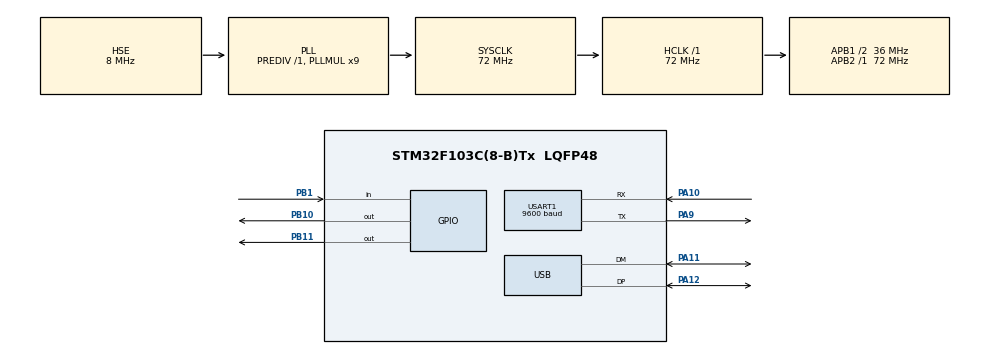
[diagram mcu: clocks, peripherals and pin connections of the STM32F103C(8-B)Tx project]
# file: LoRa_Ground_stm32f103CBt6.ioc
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Mcu.Family=STM32F1
Mcu.Name=STM32F103C(8-B)Tx
Mcu.Package=LQFP48
NVIC.PriorityGroup=NVIC_PRIORITYGROUP_4
NVIC.USART1_IRQn=true\:0\:0\:false\:false\:true\:true\:true
NVIC.USB_LP_CAN1_RX0_IRQn=true\:0\:0\:false\:false\:true\:false\:true
PA10.Mode=Asynchronous
PA10.Signal=USART1_RX
PA11.Mode=Device
PA11.Signal=USB_DM
PA12.Mode=Device
PA12.Signal=USB_DP
PA13.Mode=Serial_Wire
PA13.Signal=SYS_JTMS-SWDIO
PA14.Mode=Serial_Wire
PA14.Signal=SYS_JTCK-SWCLK
PA9.Mode=Asynchronous
PA9.Signal=USART1_TX
PB1.Signal=GPIO_Input
PB10.GPIO_PuPd=GPIO_PULLDOWN
PB10.Signal=GPIO_Output
PB11.GPIO_PuPd=GPIO_PULLDOWN
PB11.Signal=GPIO_Output
PD0-OSC_IN.Mode=HSE-External-Oscillator
PD0-OSC_IN.Signal=RCC_OSC_IN
PD1-OSC_OUT.Mode=HSE-External-Oscillator
PD1-OSC_OUT.Signal=RCC_OSC_OUT
ProjectManager.HeapSize=0x200
ProjectManager.StackSize=0x400
ProjectManager.TargetToolchain=STM32CubeIDE
RCC.AHBFreq_Value=72000000
RCC.APB1CLKDivider=RCC_HCLK_DIV2
RCC.APB1Freq_Value=36000000
RCC.APB1TimFreq_Value=72000000
RCC.APB2Freq_Value=72000000
RCC.APB2TimFreq_Value=72000000
RCC.HCLKFreq_Value=72000000
RCC.PLLMUL=RCC_PLL_MUL9
RCC.SYSCLKFreq_VALUE=72000000
RCC.SYSCLKSource=RCC_SYSCLKSOURCE_PLLCLK
RCC.USBFreq_Value=48000000
RCC.USBPrescaler=RCC_USBCLKSOURCE_PLL_DIV1_5
USART1.BaudRate=9600
USART1.VirtualMode=VM_ASYNC
USB_DEVICE.CLASS_NAME_FS=CDC
USB_DEVICE.VirtualMode=Cdc
USB_DEVICE.VirtualModeFS=Cdc_FS
VP_USB_DEVICE_VS_USB_DEVICE_CDC_FS.Mode=CDC_FS
board=custom

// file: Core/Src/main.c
/* USER CODE BEGIN Header */
/**
 ******************************************************************************
 * @file           : main.c
 * @brief          : Main program body
 ******************************************************************************
 * @attention
 *
 * Copyright (c) 2022 STMicroelectronics.
 * All rights reserved.
 *
 * This software is licensed under terms that can be found in the LICENSE file
 * in the root directory of this software component.
 * If no LICENSE file comes with this software, it is provided AS-IS.
 *
 ******************************************************************************
 */
/* USER CODE END Header */
#include "main.h"
#include "usb_device.h"

/* USER CODE BEGIN Includes */
#include "string.h"
/* USER CODE END Includes */

/* USER CODE BEGIN PTD */

struct {
	uint8_t command;
	uint16_t P;
	uint16_t I;
	uint16_t D;
} pid_transmit_struct;

struct {
	uint8_t command;
	int16_t offsetR;
	int16_t offsetP;
} offset_transmit_struct;

/* USER CODE END PTD */

UART_HandleTypeDef huart1;

/* USER CODE BEGIN PV */

uint32_t last_time = 0;

uint8_t buffer[64];

uint8_t uart_buff[32] = { 0, };
uint8_t buff_counter = 0;
uint8_t lora_rec_string[32] = { 0, };
uint8_t lora_tx_buff[32] = { 0, };

char trans_str[60] = { 0, };

uint8_t length_of_packet = 0;
_Bool COMdataAvailable = 0;

/* USER CODE END PV */

void SystemClock_Config(void);
static void MX_GPIO_Init(void);
static void MX_USART1_UART_Init(void);

/* USER CODE BEGIN 0 */

void HAL_UART_RxCpltCallback(UART_HandleTypeDef *huart) {
	if (huart == &huart1) {
		/*if(uart_buff[buff_counter] != "$" && buff_counter + 1 <= sizeof(uart_buff)){
		 buff_counter++;
		 HAL_UART_Receive_IT(&huart1, uart_buff[buff_counter], 1);
		 }
		 else{
		 memcpy(lora_rec_string, uart_buff, buff_counter + 1);
		 CDC_Transmit_FS(lora_rec_string, buff_counter + 1);
		 buff_counter = 0;
		 }*/

		CDC_Transmit_FS(uart_buff, 32);

	}
}

void HAL_UART_TxCpltCallback(UART_HandleTypeDef *huart) {
	if (huart == &huart1) {
		HAL_UART_Receive_IT(&huart1, uart_buff, 32);
	}
}

/* USER CODE END 0 */

int main(void) {

	/* MCU Configuration--------------------------------------------------------*/

	/* Reset of all peripherals, Initializes the Flash interface and the Systick. */
	HAL_Init();

	/* Configure the system clock */
	SystemClock_Config();

	/* Initialize all configured peripherals */
	MX_GPIO_Init();
	MX_USART1_UART_Init();
	MX_USB_DEVICE_Init();

	/* Infinite loop */
	/* USER CODE BEGIN WHILE */
	while (1) {

		if (COMdataAvailable) {
			COMdataAvailable = 0;

			if (!strncmp(buffer, "PID_R", 5)) {
				pid_transmit_struct.command = 2;
				int P, I, D;
				sscanf(buffer, "PID_R %d %d %d", &P, &I, &D);

				pid_transmit_struct.P = (uint16_t) P;
				pid_transmit_struct.I = (uint16_t) I;
				pid_transmit_struct.D = (uint16_t) D;

				memcpy(lora_tx_buff, &pid_transmit_struct,
						sizeof(pid_transmit_struct));

				HAL_UART_Transmit_IT(&huart1, lora_tx_buff,
						sizeof(lora_tx_buff));

			} else if (!strncmp(buffer, "PID_P", 5)) {
				pid_transmit_struct.command = 3;
				int P, I, D;
				sscanf(buffer, "PID_P %d %d %d", &P, &I, &D);

				pid_transmit_struct.P = (uint16_t) P;
				pid_transmit_struct.I = (uint16_t) I;
				pid_transmit_struct.D = (uint16_t) D;

				memcpy(lora_tx_buff, &pid_transmit_struct,
						sizeof(pid_transmit_struct));

				HAL_UART_Transmit_IT(&huart1, lora_tx_buff,
						sizeof(lora_tx_buff));

			} else if (!strncmp(buffer, "OFFSET", 6)) {
				offset_transmit_struct.command = 5;

				int Pitch, Roll;
				sscanf(buffer, "OFFSET %d %d", &Pitch, &Roll);

				offset_transmit_struct.offsetP = Pitch;
				offset_transmit_struct.offsetR = Roll;

				memcpy(lora_tx_buff, &offset_transmit_struct,
						sizeof(offset_transmit_struct));
				HAL_UART_Transmit_IT(&huart1, lora_tx_buff,
						sizeof(lora_tx_buff));

			} else if (!strncmp(buffer, "PID_ALT", 7)) {

				pid_transmit_struct.command = 6;
				int P, I, D;
				sscanf(buffer, "PID_ALT %d %d %d", &P, &I, &D);

				pid_transmit_struct.P = (uint16_t) P;
				pid_transmit_struct.I = (uint16_t) I;
				pid_transmit_struct.D = (uint16_t) D;

				memcpy(lora_tx_buff, &pid_transmit_struct,
						sizeof(pid_transmit_struct));

				HAL_UART_Transmit_IT(&huart1, lora_tx_buff,
						sizeof(lora_tx_buff));

			} else if(!strncmp(buffer, "GPS_POS", 7)){

				lora_tx_buff[0] = 7;

				HAL_UART_Transmit_IT(&huart1, lora_tx_buff,
										sizeof(lora_tx_buff));
			}
			else if(!strncmp(buffer, "GPS_SPEED", 9)){
				lora_tx_buff[0] = 8;

				HAL_UART_Transmit_IT(&huart1, lora_tx_buff,
										sizeof(lora_tx_buff));
			}
			else if(!strncmp(buffer, "GET_COMPASS", 11)){
				lora_tx_buff[0] = 9;

				HAL_UART_Transmit_IT(&huart1, lora_tx_buff,
										sizeof(lora_tx_buff));
			}
			else if(!strncmp(buffer, "GET_IMU", 7)){
				lora_tx_buff[0] = 10;

				HAL_UART_Transmit_IT(&huart1, lora_tx_buff,
										sizeof(lora_tx_buff));
			}
			else if(!strncmp(buffer, "GYRO_RAW", 8)){
				lora_tx_buff[0] = 11;

				HAL_UART_Transmit_IT(&huart1, lora_tx_buff,
										sizeof(lora_tx_buff));
			}
			else if(!strncmp(buffer, "ACCEL_RAW", 9)){
				lora_tx_buff[0] = 12;

				HAL_UART_Transmit_IT(&huart1, lora_tx_buff,
										sizeof(lora_tx_buff));
						}

		}

		/* USER CODE END WHILE */

	}
}

void SystemClock_Config(void) {
	RCC_OscInitTypeDef RCC_OscInitStruct = { 0 };
	RCC_ClkInitTypeDef RCC_ClkInitStruct = { 0 };
	RCC_PeriphCLKInitTypeDef PeriphClkInit = { 0 };

	/** Initializes the RCC Oscillators according to the specified parameters
	 * in the RCC_OscInitTypeDef structure.
	 */
	RCC_OscInitStruct.OscillatorType = RCC_OSCILLATORTYPE_HSE;
	RCC_OscInitStruct.HSEState = RCC_HSE_ON;
	RCC_OscInitStruct.HSEPredivValue = RCC_HSE_PREDIV_DIV1;
	RCC_OscInitStruct.HSIState = RCC_HSI_ON;
	RCC_OscInitStruct.PLL.PLLState = RCC_PLL_ON;
	RCC_OscInitStruct.PLL.PLLSource = RCC_PLLSOURCE_HSE;
	RCC_OscInitStruct.PLL.PLLMUL = RCC_PLL_MUL9;
	if (HAL_RCC_OscConfig(&RCC_OscInitStruct) != HAL_OK) {
		Error_Handler();
	}
	/** Initializes the CPU, AHB and APB buses clocks
	 */
	RCC_ClkInitStruct.ClockType = RCC_CLOCKTYPE_HCLK | RCC_CLOCKTYPE_SYSCLK
			| RCC_CLOCKTYPE_PCLK1 | RCC_CLOCKTYPE_PCLK2;
	RCC_ClkInitStruct.SYSCLKSource = RCC_SYSCLKSOURCE_PLLCLK;
	RCC_ClkInitStruct.AHBCLKDivider = RCC_SYSCLK_DIV1;
	RCC_ClkInitStruct.APB1CLKDivider = RCC_HCLK_DIV2;
	RCC_ClkInitStruct.APB2CLKDivider = RCC_HCLK_DIV1;

	if (HAL_RCC_ClockConfig(&RCC_ClkInitStruct, FLASH_LATENCY_2) != HAL_OK) {
		Error_Handler();
	}
	PeriphClkInit.PeriphClockSelection = RCC_PERIPHCLK_USB;
	PeriphClkInit.UsbClockSelection = RCC_USBCLKSOURCE_PLL_DIV1_5;
	if (HAL_RCCEx_PeriphCLKConfig(&PeriphClkInit) != HAL_OK) {
		Error_Handler();
	}
}

static void MX_USART1_UART_Init(void) {

	huart1.Instance = USART1;
	huart1.Init.BaudRate = 9600;
	huart1.Init.WordLength = UART_WORDLENGTH_8B;
	huart1.Init.StopBits = UART_STOPBITS_1;
	huart1.Init.Parity = UART_PARITY_NONE;
	huart1.Init.Mode = UART_MODE_TX_RX;
	huart1.Init.HwFlowCtl = UART_HWCONTROL_NONE;
	huart1.Init.OverSampling = UART_OVERSAMPLING_16;
	if (HAL_UART_Init(&huart1) != HAL_OK) {
		Error_Handler();
	}

}

static void MX_GPIO_Init(void) {
	GPIO_InitTypeDef GPIO_InitStruct = { 0 };

	/* GPIO Ports Clock Enable */
	__HAL_RCC_GPIOD_CLK_ENABLE();
	__HAL_RCC_GPIOB_CLK_ENABLE();
	__HAL_RCC_GPIOA_CLK_ENABLE();

	/*Configure GPIO pin Output Level */
	HAL_GPIO_WritePin(GPIOB, GPIO_PIN_10 | GPIO_PIN_11, GPIO_PIN_RESET);

	/*Configure GPIO pin : PB1 */
	GPIO_InitStruct.Pin = GPIO_PIN_1;
	GPIO_InitStruct.Mode = GPIO_MODE_INPUT;
	GPIO_InitStruct.Pull = GPIO_NOPULL;
	HAL_GPIO_Init(GPIOB, &GPIO_InitStruct);

	/*Configure GPIO pins : PB10 PB11 */
	GPIO_InitStruct.Pin = GPIO_PIN_10 | GPIO_PIN_11;
	GPIO_InitStruct.Mode = GPIO_MODE_OUTPUT_PP;
	GPIO_InitStruct.Pull = GPIO_PULLDOWN;
	GPIO_InitStruct.Speed = GPIO_SPEED_FREQ_LOW;
	HAL_GPIO_Init(GPIOB, &GPIO_InitStruct);

}

void Error_Handler(void) {
	__disable_irq();
	while (1) {
	}
}
